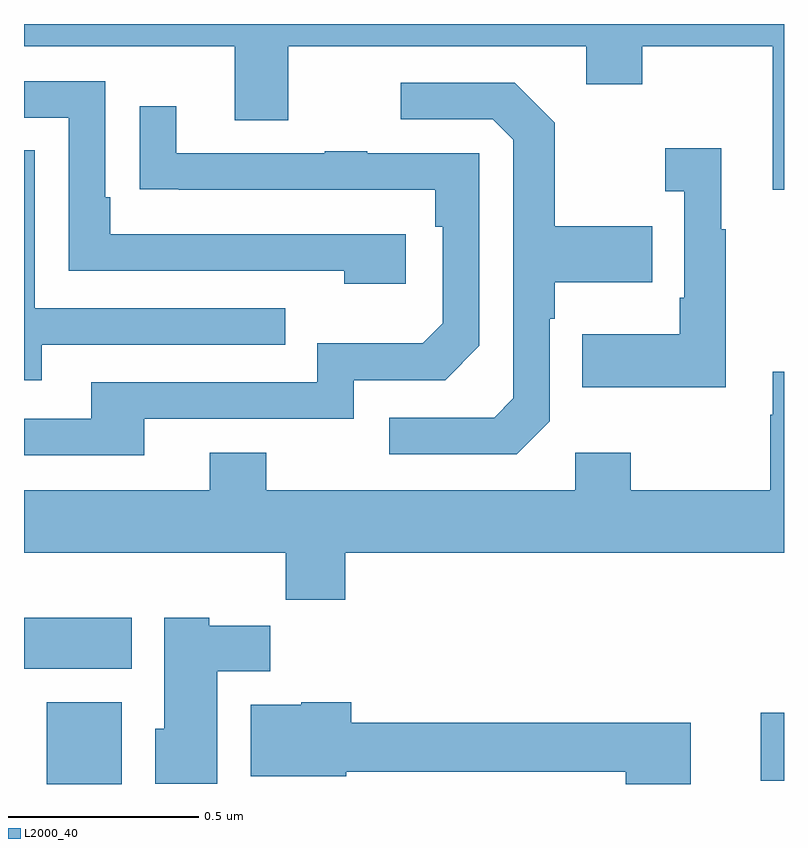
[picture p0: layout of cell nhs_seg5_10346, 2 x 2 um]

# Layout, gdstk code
import gdstk
lib = gdstk.Library(unit=1e-6, precision=1e-09)
def R(c, l, rs):  # rectangles x0, y0, x1, y1
    for r in rs: c.add(gdstk.rectangle(r[:2], r[2:], *l))
def P(c, l, *ps):  # polygons
    for p in ps: c.add(gdstk.Polygon(p, *l))
L2000_40 = (2000, 40)

nhs_seg5_10346 = lib.new_cell('nhs_seg5_10346')
R(nhs_seg5_10346, L2000_40, [(245.06,874.799,245.257,875.014), (246.939,874.808,247,874.986), (245,875.102,245.284,875.236)])
P(nhs_seg5_10346, L2000_40, [(247,876.799),(245,876.799),(245,876.74),(245.555,876.74),(245.555,876.546),(245.695,876.546),(245.695,876.74),(246.479,876.74),(246.479,876.641),(246.627,876.641),(246.627,876.74),(246.971,876.74),(246.971,876.363),(247,876.363)],
  [(246.004,876.246),(245.227,876.246),(245.227,876.343),(245.214,876.343),(245.214,876.648),(245,876.648),(245,876.552),(245.118,876.552),(245.118,876.15),(245.843,876.15),(245.843,876.116),(246.004,876.116)],
  [(246.384,875.754),(246.384,876.023),(246.397,876.023),(246.397,876.119),(246.653,876.119),(246.653,876.267),(246.397,876.267),(246.397,876.539),(246.291,876.645),(245.991,876.645),(245.991,876.549),(246.234,876.549),(246.288,876.495),(246.288,875.814),(246.237,875.763),(245.961,875.763),(245.961,875.667),(246.297,875.667)],
  [(245.317,875.76),(245.868,875.76),(245.868,875.862),(246.108,875.862),(246.198,875.952),(246.198,876.459),(245.903,876.459),(245.903,876.464),(245.791,876.464),(245.791,876.459),(245.401,876.459),(245.401,876.583),(245.305,876.583),(245.305,876.364),(245.407,876.364),(245.407,876.363),(246.082,876.363),(246.082,876.266),(246.102,876.266),(246.102,876.012),(246.049,875.959),(245.772,875.959),(245.772,875.856),(245.177,875.856),(245.177,875.76),(245,875.76),(245,875.664),(245.317,875.664)],
  [(246.847,876.259),(246.835,876.259),(246.835,876.472),(246.687,876.472),(246.687,876.359),(246.738,876.359),(246.738,876.079),(246.726,876.079),(246.726,875.983),(246.469,875.983),(246.469,875.843),(246.847,875.843)],
  [(245.047,875.955),(245.687,875.955),(245.687,876.051),(245.028,876.051),(245.028,876.467),(245,876.467),(245,875.861),(245.047,875.861)],
  [(245.846,875.408),(247,875.408),(247,875.884),(246.971,875.884),(246.971,875.771),(246.964,875.771),(246.964,875.572),(246.597,875.572),(246.597,875.671),(246.45,875.671),(246.45,875.572),(245.637,875.572),(245.637,875.671),(245.489,875.671),(245.489,875.572),(245,875.572),(245,875.408),(245.689,875.408),(245.689,875.284),(245.846,875.284)],
  [(245.509,875.096),(245.648,875.096),(245.648,875.215),(245.487,875.215),(245.487,875.236),(245.369,875.236),(245.369,874.944),(245.345,874.944),(245.345,874.8),(245.509,874.8)],
  [(246.754,874.96),(245.861,874.96),(245.861,875.014),(245.73,875.014),(245.73,875.008),(245.597,875.008),(245.597,874.82),(245.848,874.82),(245.848,874.831),(246.584,874.831),(246.584,874.799),(246.754,874.799)])

lib.write_gds('nhs_seg5_10346.gds')
